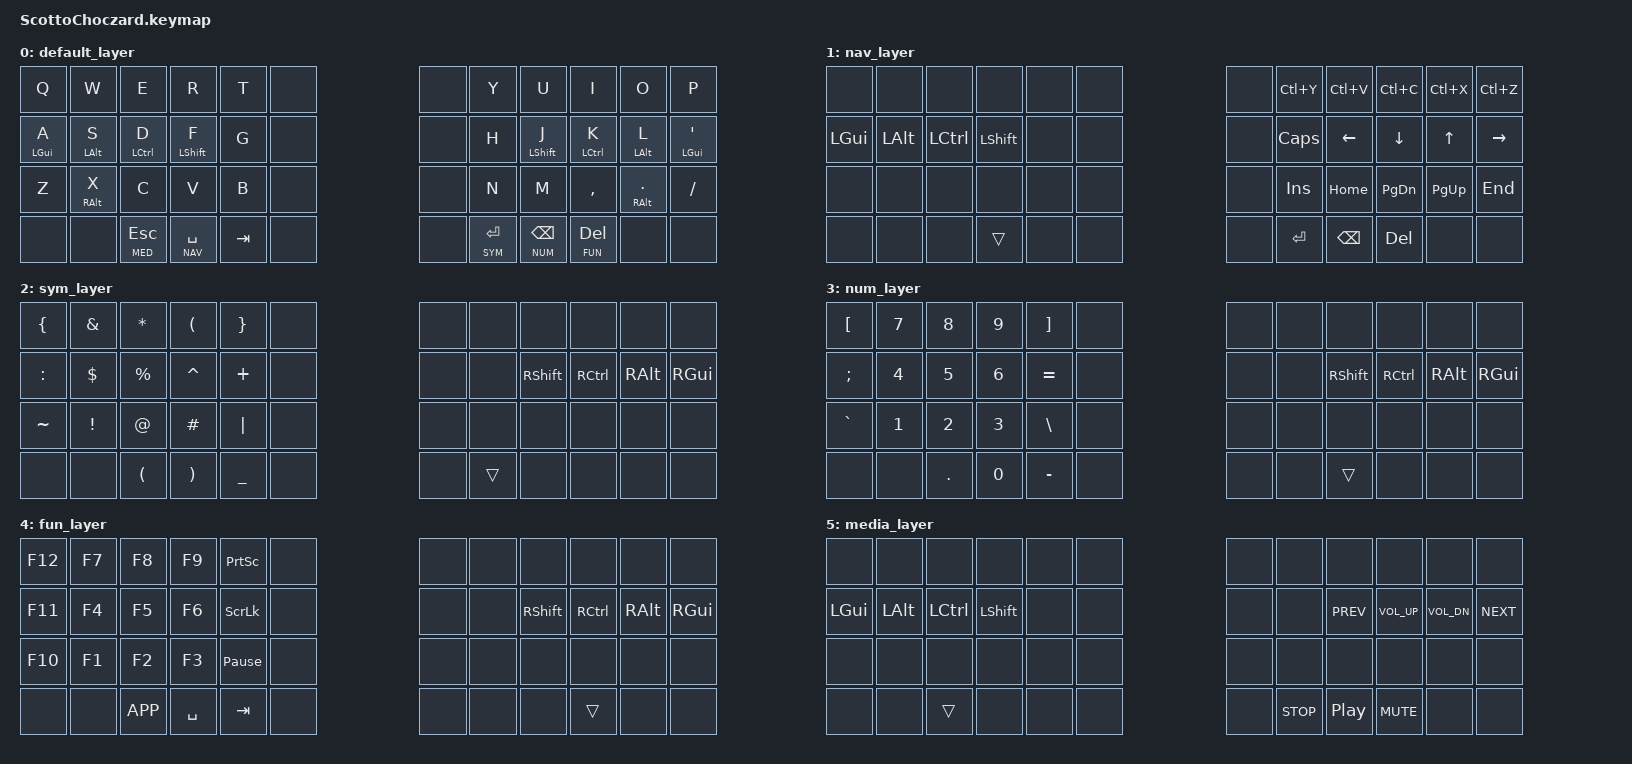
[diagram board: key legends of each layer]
#include <behaviors.dtsi>
#include <dt-bindings/zmk/keys.h>

// The default keymap is roughly on Miryoku layout
// (https://github.com/manna-harbour/miryoku).
// Customize on your own on the config folder.

#define BASE    0
#define NAV     1
#define SYM     2
#define NUM     3
#define FUN     4
#define MED     5

/ {
    behaviors {
        hm: homerow_mods {
            compatible = "zmk,behavior-hold-tap";
            label = "HOMEROW_MODS";
            #binding-cells = <2>;
            tapping-term-ms = <150>;
            quick-tap-ms = <0>;
            flavor = "hold-preferred";
            bindings = <&kp>, <&kp>;
        };
    };

    keymap {
        compatible = "zmk,keymap";

        default_layer {
            bindings = <
    &kp Q       &kp W       &kp E       &kp R       &kp T       &none                           &none       &kp Y           &kp U       &kp I       &kp O           &kp P
    &hm LGUI A  &hm LALT S  &hm LCTRL D &hm LSHFT F &kp G       &none                           &none       &kp H           &hm LSHFT J &hm LCTRL K &hm LALT L      &hm LGUI SQT
    &kp Z       &hm RALT X  &kp C       &kp V       &kp B       &none                           &none       &kp N           &kp M       &kp COMMA   &hm RALT DOT    &kp FSLH
    &none       &none       &lt MED ESC &lt NAV SPACE &kp TAB   &none                           &none       &lt SYM RET     &lt NUM BSPC &lt FUN DEL &none          &none
            >;
        };

        nav_layer {
            bindings = <
    &none       &none       &none       &none       &none       &none                           &none       &kp LC(Y)   &kp LC(V)   &kp LC(C)   &kp LC(X)   &kp LC(Z)
    &kp LGUI    &kp LALT    &kp LCTRL   &kp LSHFT   &none       &none                           &none       &kp CAPS    &kp LEFT    &kp DOWN    &kp UP      &kp RIGHT
    &none       &none       &none       &none       &none       &none                           &none       &kp INS     &kp HOME    &kp PG_DN   &kp PG_UP   &kp END
    &none       &none       &none       &trans      &none       &none                           &none       &kp RET     &kp BSPC    &kp DEL     &none       &none
            >;
        };

        sym_layer {
            bindings = <
    &kp LBRC    &kp AMPS    &kp STAR    &kp LPAR   &kp RBRC    &none                        &none   &none       &none       &none       &none       &none
    &kp COLON   &kp DLLR    &kp PRCNT   &kp CARET  &kp PLUS    &none                        &none   &none       &kp RSHFT   &kp RCTRL   &kp RALT    &kp RGUI
    &kp TILDE   &kp EXCL    &kp AT      &kp HASH   &kp PIPE    &none                        &none   &none       &none       &none       &none       &none
    &none       &none       &kp LPAR    &kp RPAR   &kp UNDER   &none                        &none   &trans      &none       &none       &none       &none
            >;
        };

        num_layer {
            bindings = <
    &kp LBKT    &kp N7  &kp N8  &kp N9  &kp RBKT    &none                       &none   &none   &none       &none       &none       &none
    &kp SEMI    &kp N4  &kp N5  &kp N6  &kp EQUAL   &none                       &none   &none   &kp RSHFT   &kp RCTRL   &kp RALT    &kp RGUI
    &kp GRAVE   &kp N1  &kp N2  &kp N3  &kp BSLH    &none                       &none   &none   &none       &none       &none       &none
    &none       &none   &kp DOT &kp N0  &kp MINUS   &none                       &none   &none   &trans      &none       &none       &none
            >;
        };

        fun_layer {
            bindings = <
    &kp F12 &kp F7  &kp F8  &kp F9      &kp PSCRN       &none                           &none   &none   &none       &none       &none       &none
    &kp F11 &kp F4  &kp F5  &kp F6      &kp SLCK        &none                           &none   &none   &kp RSHFT   &kp RCTRL   &kp RALT    &kp RGUI
    &kp F10 &kp F1  &kp F2  &kp F3      &kp PAUSE_BREAK &none                           &none   &none   &none       &none       &none       &none
    &none   &none   &kp K_APP &kp SPACE &kp TAB         &none                           &none   &none   &none       &trans      &none       &none
            >;
        };

        media_layer {
            bindings = <
    &none       &none       &none       &none       &none       &none                           &none       &none       &none       &none           &none           &none
    &kp LGUI    &kp LALT    &kp LCTRL   &kp LSHFT   &none       &none                           &none       &none       &kp C_PREV  &kp C_VOL_UP    &kp C_VOL_DN    &kp C_NEXT
    &none       &none       &none       &none       &none       &none                           &none       &none       &none       &none           &none           &none
    &none       &none       &trans      &none       &none       &none                           &none       &kp C_STOP  &kp C_PP    &kp C_MUTE      &none           &none
            >;
        };
    };
};
